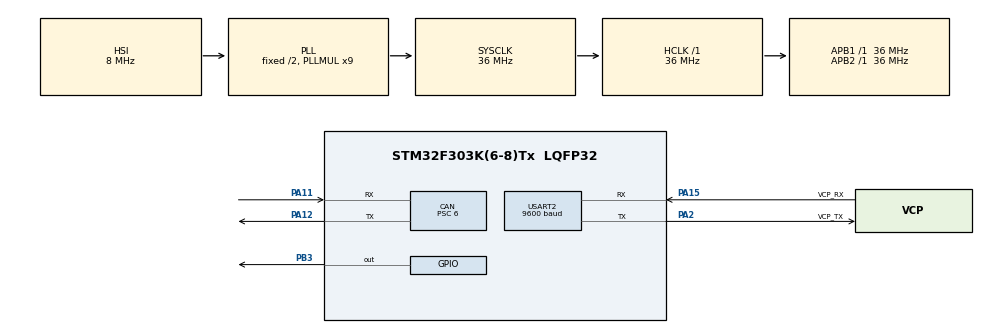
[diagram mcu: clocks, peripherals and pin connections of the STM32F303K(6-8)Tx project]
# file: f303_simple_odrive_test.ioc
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CAN.BS1=CAN_BS1_10TQ
CAN.CalculateBaudRate=500000
CAN.CalculateTimeBit=1999.99
CAN.CalculateTimeQuantum=166.66666666666669
CAN.Prescaler=6
Mcu.Family=STM32F3
Mcu.Name=STM32F303K(6-8)Tx
Mcu.Package=LQFP32
NVIC.CAN_RX0_IRQn=true\:0\:0\:false\:false\:true\:true\:true
NVIC.CAN_TX_IRQn=true\:0\:0\:false\:false\:true\:true\:true
NVIC.PriorityGroup=NVIC_PRIORITYGROUP_4
NVIC.USART2_IRQn=true\:0\:0\:false\:false\:true\:true\:true
PA11.Mode=CAN_Activate
PA11.Signal=CAN_RX
PA12.GPIO_PuPd=GPIO_PULLUP
PA12.Mode=CAN_Activate
PA12.Signal=CAN_TX
PA13.GPIO_Label=SWDIO
PA13.Mode=Serial_Wire
PA13.Signal=SYS_JTMS-SWDIO
PA14.GPIO_Label=SWCLK
PA14.Mode=Serial_Wire
PA14.Signal=SYS_JTCK-SWCLK
PA15.GPIO_Label=VCP_RX
PA15.Mode=Asynchronous
PA15.Signal=USART2_RX
PA2.GPIO_Label=VCP_TX
PA2.Mode=Asynchronous
PA2.Signal=USART2_TX
PB3.GPIO_PuPd=GPIO_PULLDOWN
PB3.Signal=GPIO_Output
PF0\ /\ OSC_IN.GPIO_Label=MCO
PF0\ /\ OSC_IN.Mode=HSE-External-Clock-Source
PF0\ /\ OSC_IN.Signal=RCC_OSC_IN
ProjectManager.HeapSize=0x200
ProjectManager.StackSize=0x400
ProjectManager.TargetToolchain=STM32CubeIDE
RCC.AHBFreq_Value=36000000
RCC.APB1Freq_Value=36000000
RCC.APB1TimFreq_Value=36000000
RCC.APB2Freq_Value=36000000
RCC.APB2TimFreq_Value=36000000
RCC.CortexFreq_Value=36000000
RCC.HCLKFreq_Value=36000000
RCC.HSE_VALUE=8000000
RCC.HSI_VALUE=8000000
RCC.PLLMUL=RCC_PLL_MUL9
RCC.SYSCLKFreq_VALUE=36000000
RCC.SYSCLKSourceVirtual=RCC_SYSCLKSOURCE_PLLCLK
USART2.BaudRate=9600
USART2.VirtualMode-Asynchronous=VM_ASYNC
board=NUCLEO-F303K8

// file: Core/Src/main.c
/* USER CODE BEGIN Header */
/**
  ******************************************************************************
  * @file           : main.c
  * @brief          : Main program body
  ******************************************************************************
  * @attention
  *
  * <h2><center>&copy; Copyright (c) 2022 STMicroelectronics.
  * All rights reserved.</center></h2>
  *
  * This software component is licensed by ST under BSD 3-Clause license,
  * the "License"; You may not use this file except in compliance with the
  * License. You may obtain a copy of the License at:
  *                        opensource.org/licenses/BSD-3-Clause
  *
  ******************************************************************************
  */
/* USER CODE END Header */
#include "main.h"

CAN_HandleTypeDef hcan;

UART_HandleTypeDef huart2;

/* USER CODE BEGIN PV */
CAN_FilterTypeDef sFilterConfig;
CAN_TxHeaderTypeDef TxHeader;

uint8_t TxData[8];
uint8_t RxData[8]={0};
uint8_t flag =0;

int enc_data;
uint32_t TxMailbox;

uint8_t motor_num = 0x010; //odrive axis node id

//uint8_t control_mode = 0x00C;//control mode
uint8_t control_mode = 0x007; //Set Axis Requested State
//uint8_t control_mode = 0x00A; //get encoder val
//uint8_t control_mode = 0x017; //Get Vbus Voltage

/* USER CODE END PV */

void SystemClock_Config(void);
static void MX_GPIO_Init(void);
static void MX_USART2_UART_Init(void);
static void MX_CAN_Init(void);

/* USER CODE BEGIN 0 */
uint8_t buffer[256];
char tx_data[]="get data test\r\n";

/* USER CODE END 0 */

int main(void)
{
  /* USER CODE BEGIN 1 */

	HAL_UART_Transmit(&huart2,tx_data,sizeof(tx_data),0xFFFF);
	printf("start can test\r\n");
	  sFilterConfig.FilterBank = 0;
	  sFilterConfig.FilterMode = CAN_FILTERMODE_IDMASK;
	  sFilterConfig.FilterScale = CAN_FILTERSCALE_32BIT;
	  sFilterConfig.FilterIdHigh = 0x0000;
	  sFilterConfig.FilterIdLow = 0x0000;
	  sFilterConfig.FilterMaskIdHigh = 0x0000;
	  sFilterConfig.FilterMaskIdLow = 0x0000;
	  sFilterConfig.FilterFIFOAssignment = CAN_RX_FIFO0;
	  sFilterConfig.FilterActivation=ENABLE;
	  sFilterConfig.SlaveStartFilterBank=14;

	if(HAL_CAN_ConfigFilter(&hcan,&sFilterConfig) != HAL_OK)
	{
	  Error_Handler();
	}
	if(HAL_CAN_Start(&hcan)!=HAL_OK)
	{
	  Error_Handler2();
	}
	if(HAL_CAN_ActivateNotification(&hcan,CAN_IT_RX_FIFO0_MSG_PENDING | CAN_IT_TX_MAILBOX_EMPTY) != HAL_OK)
	{
		  Error_Handler3();
	}

	TxHeader.StdId=(motor_num << 5) + (control_mode);
	//  TxHeader.RTR = 2;//read data
	TxHeader.RTR = 1;//pos,state,request input(レシーブいらな?��?とき�?
	TxHeader.IDE = CAN_ID_STD;
	TxHeader.DLC = 0x08;
	TxHeader.TransmitGlobalTime = DISABLE;

  /* USER CODE END 1 */

  /* MCU Configuration--------------------------------------------------------*/

  /* Reset of all peripherals, Initializes the Flash interface and the Systick. */
  HAL_Init();

  /* Configure the system clock */
  SystemClock_Config();

  /* Initialize all configured peripherals */
  MX_GPIO_Init();
  MX_USART2_UART_Init();
  MX_CAN_Init();
  /* USER CODE BEGIN 2 */

  TxData[0] = 0x8;
  TxData[1] = 0;
  TxData[2] = 0;
  TxData[3] = 0;
  TxData[4] = 0;
  TxData[5] = 0;
  TxData[6] = 0;
  TxData[7] = 0;

  printf("mailbox data :  %d\r\n",HAL_CAN_GetTxMailboxesFreeLevel(&hcan));
  if (HAL_CAN_AddTxMessage(&hcan,&TxHeader,TxData,&TxMailbox) != HAL_OK)
  {
	Error_Handler ();
  }

  HAL_Delay(1000);

  /* USER CODE END 2 */

  /* Infinite loop */
  while (1)
  {

    /* USER CODE BEGIN 3 */
	printf("mailbox data :  %d\r\n",HAL_CAN_GetTxMailboxesFreeLevel(&hcan));
	if(0 < HAL_CAN_GetTxMailboxesFreeLevel(&hcan)){
		if (HAL_CAN_AddTxMessage(&hcan,&TxHeader,TxData,&TxMailbox) != HAL_OK)
		{
			Error_Handler ();
		}
	}

	  HAL_Delay(1000);
  }
  /* USER CODE END 3 */
}

void SystemClock_Config(void)
{
  RCC_OscInitTypeDef RCC_OscInitStruct = {0};
  RCC_ClkInitTypeDef RCC_ClkInitStruct = {0};

  /** Initializes the RCC Oscillators according to the specified parameters
  * in the RCC_OscInitTypeDef structure.
  */
  RCC_OscInitStruct.OscillatorType = RCC_OSCILLATORTYPE_HSI;
  RCC_OscInitStruct.HSIState = RCC_HSI_ON;
  RCC_OscInitStruct.HSICalibrationValue = RCC_HSICALIBRATION_DEFAULT;
  RCC_OscInitStruct.PLL.PLLState = RCC_PLL_ON;
  RCC_OscInitStruct.PLL.PLLSource = RCC_PLLSOURCE_HSI;
  RCC_OscInitStruct.PLL.PLLMUL = RCC_PLL_MUL9;
  if (HAL_RCC_OscConfig(&RCC_OscInitStruct) != HAL_OK)
  {
    Error_Handler();
  }
  /** Initializes the CPU, AHB and APB buses clocks
  */
  RCC_ClkInitStruct.ClockType = RCC_CLOCKTYPE_HCLK|RCC_CLOCKTYPE_SYSCLK
                              |RCC_CLOCKTYPE_PCLK1|RCC_CLOCKTYPE_PCLK2;
  RCC_ClkInitStruct.SYSCLKSource = RCC_SYSCLKSOURCE_PLLCLK;
  RCC_ClkInitStruct.AHBCLKDivider = RCC_SYSCLK_DIV1;
  RCC_ClkInitStruct.APB1CLKDivider = RCC_HCLK_DIV1;
  RCC_ClkInitStruct.APB2CLKDivider = RCC_HCLK_DIV1;

  if (HAL_RCC_ClockConfig(&RCC_ClkInitStruct, FLASH_LATENCY_1) != HAL_OK)
  {
    Error_Handler();
  }
}

static void MX_CAN_Init(void)
{

  hcan.Instance = CAN;
  hcan.Init.Prescaler = 6;
  hcan.Init.Mode = CAN_MODE_NORMAL;
  hcan.Init.SyncJumpWidth = CAN_SJW_1TQ;
  hcan.Init.TimeSeg1 = CAN_BS1_10TQ;
  hcan.Init.TimeSeg2 = CAN_BS2_1TQ;
  hcan.Init.TimeTriggeredMode = DISABLE;
  hcan.Init.AutoBusOff = DISABLE;
  hcan.Init.AutoWakeUp = DISABLE;
  hcan.Init.AutoRetransmission = DISABLE;
  hcan.Init.ReceiveFifoLocked = DISABLE;
  hcan.Init.TransmitFifoPriority = DISABLE;
  if (HAL_CAN_Init(&hcan) != HAL_OK)
  {
    Error_Handler();
  }

}

static void MX_USART2_UART_Init(void)
{

  huart2.Instance = USART2;
  huart2.Init.BaudRate = 9600;
  huart2.Init.WordLength = UART_WORDLENGTH_8B;
  huart2.Init.StopBits = UART_STOPBITS_1;
  huart2.Init.Parity = UART_PARITY_NONE;
  huart2.Init.Mode = UART_MODE_TX_RX;
  huart2.Init.HwFlowCtl = UART_HWCONTROL_NONE;
  huart2.Init.OverSampling = UART_OVERSAMPLING_16;
  huart2.Init.OneBitSampling = UART_ONE_BIT_SAMPLE_DISABLE;
  huart2.AdvancedInit.AdvFeatureInit = UART_ADVFEATURE_NO_INIT;
  if (HAL_UART_Init(&huart2) != HAL_OK)
  {
    Error_Handler();
  }

}

static void MX_GPIO_Init(void)
{
  GPIO_InitTypeDef GPIO_InitStruct = {0};

  /* GPIO Ports Clock Enable */
  __HAL_RCC_GPIOF_CLK_ENABLE();
  __HAL_RCC_GPIOA_CLK_ENABLE();
  __HAL_RCC_GPIOB_CLK_ENABLE();

  /*Configure GPIO pin Output Level */
  HAL_GPIO_WritePin(GPIOB, GPIO_PIN_3, GPIO_PIN_RESET);

  /*Configure GPIO pin : PB3 */
  GPIO_InitStruct.Pin = GPIO_PIN_3;
  GPIO_InitStruct.Mode = GPIO_MODE_OUTPUT_PP;
  GPIO_InitStruct.Pull = GPIO_PULLDOWN;
  GPIO_InitStruct.Speed = GPIO_SPEED_FREQ_LOW;
  HAL_GPIO_Init(GPIOB, &GPIO_InitStruct);

}

/* USER CODE BEGIN 4 */
int _write(int file, char *ptr, int len)
{
  HAL_UART_Transmit(&huart2,(uint8_t *)ptr,len,50);
  return len;
}
void HAL_CAN_TxMailbox0CompleteCallback(CAN_HandleTypeDef *hcan)
{
	flag=!flag;
	HAL_GPIO_WritePin(GPIOB,GPIO_PIN_3,flag);
	printf("tx_data : %d\r\n",TxData[0]);
}

void HAL_CAN_RxFifo0MsgPendingCallback(CAN_HandleTypeDef *hcan_)
{
  CAN_RxHeaderTypeDef RxHeader;
  HAL_CAN_GetRxMessage(&hcan, CAN_RX_FIFO0, &RxHeader, RxData);
  if (RxData[0]!=0){
	enc_data=RxData[4] & 0xFF;
	enc_data+=(RxData[5] & 0xFF) <<8;
	enc_data+=(RxData[6] & 0xFF)<<16;
	enc_data+=(RxData[7] & 0xFF)<<24;
	printf("enc_data : %d\r\n",enc_data);
  }
}
void Error_Handler2(void){
	printf("error2\r\n");
}
void Error_Handler3(void){
	printf("error3\r\n");
}

/* USER CODE END 4 */

void Error_Handler(void)
{
  /* USER CODE BEGIN Error_Handler_Debug */
	printf("anothererror\r\n");
  /* User can add his own implementation to report the HAL error return state */
  __disable_irq();
  while (1)
  {
	  HAL_UART_Transmit(&huart2,tx_data,sizeof(tx_data),0xFFFF);
  }
  /* USER CODE END Error_Handler_Debug */
}

/************************ (C) COPYRIGHT STMicroelectronics *****END OF FILE****/
